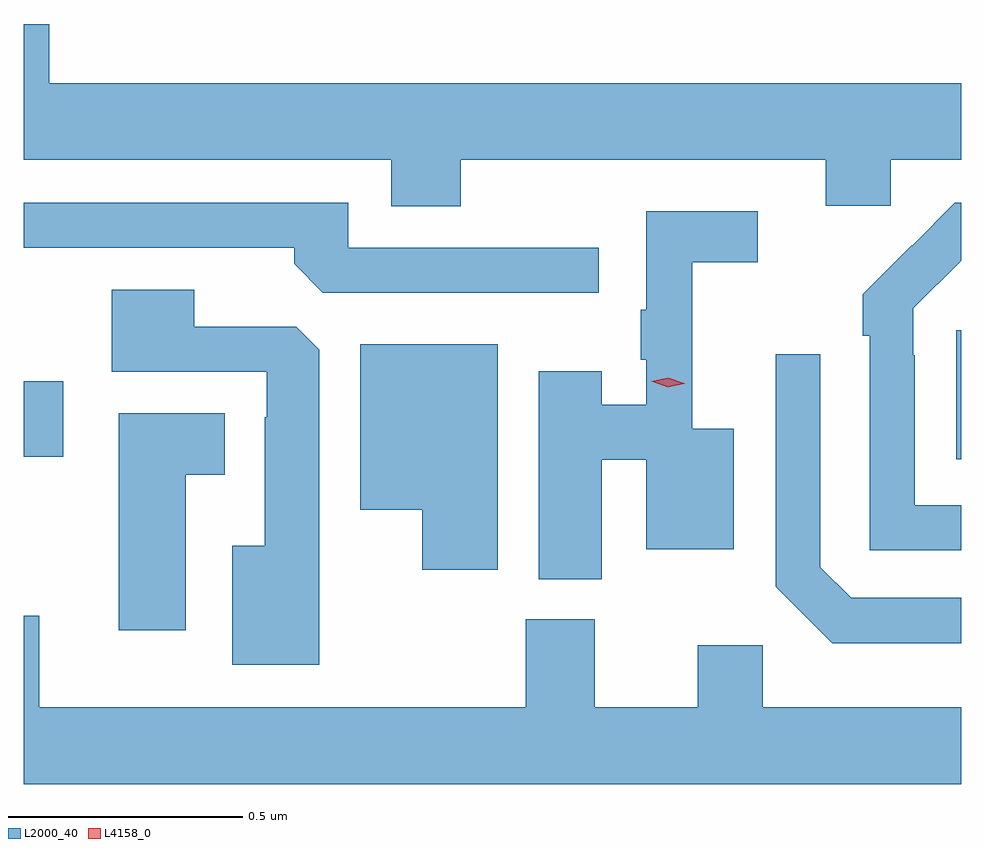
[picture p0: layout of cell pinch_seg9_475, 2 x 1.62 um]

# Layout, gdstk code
import gdstk
lib = gdstk.Library(unit=1e-6, precision=1e-09)
def R(c, l, rs):  # rectangles x0, y0, x1, y1
    for r in rs: c.add(gdstk.rectangle(r[:2], r[2:], *l))
def P(c, l, *ps):  # polygons
    for p in ps: c.add(gdstk.Polygon(p, *l))
L2000_40 = (2000, 40)
L4158_0 = (4158, 0)

pinch_seg9_475 = lib.new_cell('pinch_seg9_475')
R(pinch_seg9_475, L2000_40, [(159.137,1199.777,159.147,1200.052), (157.147,1199.782,157.231,1199.944)])
P(pinch_seg9_475, L2000_40, [(158.079,1200.416),(158.858,1200.416),(158.858,1200.318),(158.997,1200.318),(158.997,1200.416),(159.147,1200.416),(159.147,1200.58),(157.201,1200.58),(157.201,1200.706),(157.147,1200.706),(157.147,1200.416),(157.931,1200.416),(157.931,1200.317),(158.079,1200.317)],
  [(158.374,1200.228),(157.839,1200.228),(157.839,1200.324),(157.147,1200.324),(157.147,1200.228),(157.724,1200.228),(157.724,1200.194),(157.785,1200.132),(158.374,1200.132)],
  [(159.147,1199.679),(159.048,1199.679),(159.048,1199.999),(159.045,1199.999),(159.045,1200.099),(159.147,1200.201),(159.147,1200.324),(159.134,1200.324),(159.043,1200.233),(159.042,1200.234),(158.937,1200.129),(158.937,1200.041),(158.952,1200.041),(158.952,1199.583),(159.147,1199.583)],
  [(158.38,1199.776),(158.475,1199.776),(158.475,1199.585),(158.662,1199.585),(158.662,1199.842),(158.573,1199.842),(158.573,1200.198),(158.713,1200.198),(158.713,1200.306),(158.475,1200.306),(158.475,1200.096),(158.463,1200.096),(158.463,1199.989),(158.475,1199.989),(158.475,1199.893),(158.38,1199.893),(158.38,1199.965),(158.246,1199.965),(158.246,1199.521),(158.38,1199.521)],
  [(157.777,1200.011),(157.728,1200.06),(157.51,1200.06),(157.51,1200.139),(157.334,1200.139),(157.334,1199.964),(157.665,1199.964),(157.665,1199.867),(157.661,1199.867),(157.661,1199.593),(157.592,1199.593),(157.592,1199.339),(157.777,1199.339)],
  [(158.158,1200.022),(157.865,1200.022),(157.865,1199.669),(157.997,1199.669),(157.997,1199.541),(158.158,1199.541)],
  [(159.147,1199.481),(158.913,1199.481),(158.847,1199.547),(158.847,1200.001),(158.751,1200.001),(158.751,1199.505),(158.872,1199.384),(159.147,1199.384)],
  [(157.492,1199.744),(157.576,1199.744),(157.576,1199.875),(157.349,1199.875),(157.349,1199.412),(157.492,1199.412)],
  [(159.147,1199.248),(158.724,1199.248),(158.724,1199.38),(158.585,1199.38),(158.585,1199.248),(158.365,1199.248),(158.365,1199.436),(158.218,1199.436),(158.218,1199.248),(157.18,1199.248),(157.18,1199.443),(157.147,1199.443),(157.147,1199.084),(159.147,1199.084)])
P(pinch_seg9_475, L4158_0, [(158.521,1199.931),(158.486,1199.944),(158.486,1199.944),(158.486,1199.944),(158.522,1199.951),(158.556,1199.939),(158.557,1199.938),(158.556,1199.938)])

lib.write_gds('pinch_seg9_475.gds')
